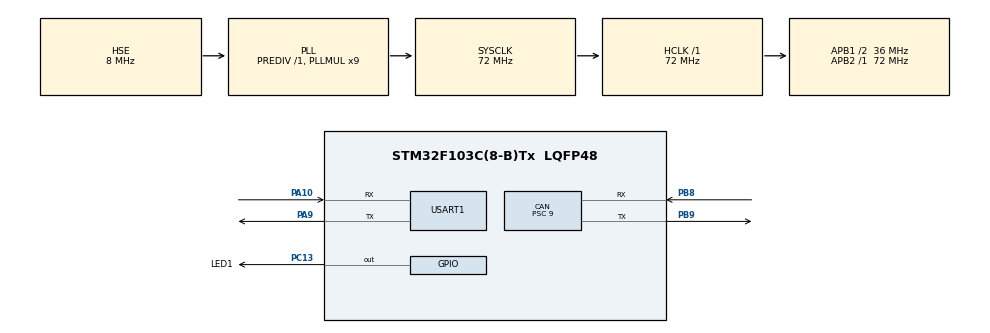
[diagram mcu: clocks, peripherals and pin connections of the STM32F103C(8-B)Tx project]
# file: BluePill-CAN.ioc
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CAN.BS1=CAN_BS1_13TQ
CAN.BS2=CAN_BS2_2TQ
CAN.CalculateTimeBit=4000
CAN.CalculateTimeQuantum=250.0
CAN.Prescaler=9
Mcu.Family=STM32F1
Mcu.Name=STM32F103C(8-B)Tx
Mcu.Package=LQFP48
Mcu.UserConstants=CAN1_BITRATE,250000
NVIC.PriorityGroup=NVIC_PRIORITYGROUP_4
PA10.Mode=Asynchronous
PA10.Signal=USART1_RX
PA9.Mode=Asynchronous
PA9.Signal=USART1_TX
PB8.Mode=Master
PB8.Signal=CAN_RX
PB9.Mode=Master
PB9.Signal=CAN_TX
PC13-TAMPER-RTC.GPIO_Label=LED1
PC13-TAMPER-RTC.Signal=GPIO_Output
PD0-OSC_IN.Mode=HSE-External-Oscillator
PD0-OSC_IN.Signal=RCC_OSC_IN
PD1-OSC_OUT.Mode=HSE-External-Oscillator
PD1-OSC_OUT.Signal=RCC_OSC_OUT
ProjectManager.HeapSize=0x200
ProjectManager.StackSize=0x400
ProjectManager.TargetToolchain=Makefile
RCC.AHBFreq_Value=72000000
RCC.APB1CLKDivider=RCC_HCLK_DIV2
RCC.APB1Freq_Value=36000000
RCC.APB1TimFreq_Value=72000000
RCC.APB2Freq_Value=72000000
RCC.APB2TimFreq_Value=72000000
RCC.HCLKFreq_Value=72000000
RCC.PLLMUL=RCC_PLL_MUL9
RCC.PLLSourceVirtual=RCC_PLLSOURCE_HSE
RCC.SYSCLKFreq_VALUE=72000000
RCC.SYSCLKSource=RCC_SYSCLKSOURCE_PLLCLK
RCC.USBFreq_Value=48000000
RCC.USBPrescaler=RCC_USBCLKSOURCE_PLL_DIV1_5
USART1.VirtualMode=VM_ASYNC
VP_SYS_VS_ND.Mode=No_Debug
board=custom

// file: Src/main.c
/* USER CODE BEGIN Header */
/**
  ******************************************************************************
  * @file           : main.c
  * @brief          : Main program body
  ******************************************************************************
  * @attention
  *
  * <h2><center>&copy; Copyright (c) 2020 STMicroelectronics.
  * All rights reserved.</center></h2>
  *
  * This software component is licensed by ST under BSD 3-Clause license,
  * the "License"; You may not use this file except in compliance with the
  * License. You may obtain a copy of the License at:
  *                        opensource.org/licenses/BSD-3-Clause
  *
  ******************************************************************************
  */
/* USER CODE END Header */

#include "main.h"

/* USER CODE BEGIN Includes */
#include <stdio.h>
#include <stdarg.h>
#include <string.h>
#include <stdint.h>
/* USER CODE END Includes */

/* USER CODE BEGIN PTD */
typedef struct {
  uint32_t StdId;
  uint32_t DLC;
  uint8_t data[8];
} CanFrame;
/* USER CODE END PTD */

/* USER CODE BEGIN PD */
#define MY_ID 1
/* USER CODE END PD */

CAN_HandleTypeDef hcan;

UART_HandleTypeDef huart1;

/* USER CODE BEGIN PV */
uint32_t TxMailbox = 0;
uint32_t RxFifo = CAN_RX_FIFO0;
/* USER CODE END PV */

void SystemClock_Config(void);
static void MX_GPIO_Init(void);
static void MX_CAN_Init(void);
static void MX_USART1_UART_Init(void);

/* USER CODE BEGIN 0 */
void vprint(const char *fmt, va_list argp)
{
    char string[200];
    if(0 < vsprintf(string,fmt,argp)) // build string
    {
        HAL_UART_Transmit(&huart1, (uint8_t*)string, strlen(string), 0xffffff); // send message via UART
        HAL_UART_Transmit(&huart1, (uint8_t*)"\n\r", strlen("\n\r"), 0xffffff); // End the message with a line feed + carriage return
    }
}

void my_printf(const char *fmt, ...) // custom printf() function
{
    va_list argp;
    va_start(argp, fmt);
    vprint(fmt, argp);
    va_end(argp);
}

// Send a message with a standard CAN ID
HAL_StatusTypeDef send_msg_CAN(CanFrame* txFrame)
{
  CAN_TxHeaderTypeDef TxHeader;

  TxHeader.IDE = CAN_ID_STD;
  TxHeader.RTR = CAN_RTR_DATA;
  TxHeader.TransmitGlobalTime = DISABLE;
  TxHeader.StdId = txFrame->StdId;
  TxHeader.DLC = txFrame->DLC;

  return HAL_CAN_AddTxMessage(&hcan, &TxHeader, &txFrame->data[0], &TxMailbox);
}

int recv_msg_CAN(CanFrame *rxFrame)
{
  int n = HAL_CAN_GetRxFifoFillLevel(&hcan, RxFifo);

  if (n == 0)
    return 0;

  CAN_RxHeaderTypeDef RxHeader;
  if (HAL_CAN_GetRxMessage(&hcan, RxFifo, &RxHeader, rxFrame->data) == HAL_OK) {
    rxFrame->StdId = RxHeader.StdId;
    rxFrame->DLC = RxHeader.DLC;
    return n;
  }

  return 0;
}
/* USER CODE END 0 */

int main(void)
{

  /* MCU Configuration--------------------------------------------------------*/

  /* Reset of all peripherals, Initializes the Flash interface and the Systick. */
  HAL_Init();

  /* Configure the system clock */
  SystemClock_Config();

  /* Initialize all configured peripherals */
  MX_GPIO_Init();
  MX_CAN_Init();
  MX_USART1_UART_Init();
  /* USER CODE BEGIN 2 */
  CanFrame txFrame;
  CanFrame rxFrame;
  /* USER CODE END 2 */

  /* Infinite loop */
  /* USER CODE BEGIN WHILE */
  uint8_t counter = MY_ID;
  while (1)
  {
    /* USER CODE END WHILE */

    /* USER CODE BEGIN 3 */

    my_printf("[ID %d] Loop!", MY_ID);

    // Setup CAN frame
    txFrame.DLC = 2;
    txFrame.StdId = 0x110 + MY_ID;
    txFrame.data[0] = MY_ID;
    txFrame.data[1] = counter++;

    if (send_msg_CAN(&txFrame) == HAL_OK) {
      my_printf("Message sent");
    }

    if (recv_msg_CAN(&rxFrame) > 0) {
      my_printf("[%d] Received msg ID 0x%x with %d bytes: [%d, %d]", MY_ID, rxFrame.StdId,
                rxFrame.DLC, rxFrame.data[0], rxFrame.data[1]);
      HAL_GPIO_TogglePin(LED1_GPIO_Port, LED1_Pin);
    }

    HAL_Delay(1000);
  }
  /* USER CODE END 3 */
}

void SystemClock_Config(void)
{
  RCC_OscInitTypeDef RCC_OscInitStruct = {0};
  RCC_ClkInitTypeDef RCC_ClkInitStruct = {0};

  /** Initializes the CPU, AHB and APB busses clocks
  */
  RCC_OscInitStruct.OscillatorType = RCC_OSCILLATORTYPE_HSE;
  RCC_OscInitStruct.HSEState = RCC_HSE_ON;
  RCC_OscInitStruct.HSEPredivValue = RCC_HSE_PREDIV_DIV1;
  RCC_OscInitStruct.HSIState = RCC_HSI_ON;
  RCC_OscInitStruct.PLL.PLLState = RCC_PLL_ON;
  RCC_OscInitStruct.PLL.PLLSource = RCC_PLLSOURCE_HSE;
  RCC_OscInitStruct.PLL.PLLMUL = RCC_PLL_MUL9;
  if (HAL_RCC_OscConfig(&RCC_OscInitStruct) != HAL_OK)
  {
    Error_Handler();
  }
  /** Initializes the CPU, AHB and APB busses clocks
  */
  RCC_ClkInitStruct.ClockType = RCC_CLOCKTYPE_HCLK|RCC_CLOCKTYPE_SYSCLK
                              |RCC_CLOCKTYPE_PCLK1|RCC_CLOCKTYPE_PCLK2;
  RCC_ClkInitStruct.SYSCLKSource = RCC_SYSCLKSOURCE_PLLCLK;
  RCC_ClkInitStruct.AHBCLKDivider = RCC_SYSCLK_DIV1;
  RCC_ClkInitStruct.APB1CLKDivider = RCC_HCLK_DIV2;
  RCC_ClkInitStruct.APB2CLKDivider = RCC_HCLK_DIV1;

  if (HAL_RCC_ClockConfig(&RCC_ClkInitStruct, FLASH_LATENCY_2) != HAL_OK)
  {
    Error_Handler();
  }
}

static void MX_CAN_Init(void)
{

  hcan.Instance = CAN1;
  hcan.Init.Prescaler = 9;
  hcan.Init.Mode = CAN_MODE_NORMAL;
  hcan.Init.SyncJumpWidth = CAN_SJW_1TQ;
  hcan.Init.TimeSeg1 = CAN_BS1_13TQ;
  hcan.Init.TimeSeg2 = CAN_BS2_2TQ;
  hcan.Init.TimeTriggeredMode = DISABLE;
  hcan.Init.AutoBusOff = DISABLE;
  hcan.Init.AutoWakeUp = DISABLE;
  hcan.Init.AutoRetransmission = DISABLE;
  hcan.Init.ReceiveFifoLocked = DISABLE;
  hcan.Init.TransmitFifoPriority = DISABLE;
  if (HAL_CAN_Init(&hcan) != HAL_OK)
  {
    Error_Handler();
  }
  /* USER CODE BEGIN CAN_Init 2 */

  // Configure the CAN filter
  CAN_FilterTypeDef hFilt;

  hFilt.FilterBank = 0;
  hFilt.FilterMode = CAN_FILTERMODE_IDMASK;
  hFilt.FilterScale = CAN_FILTERSCALE_32BIT;
  hFilt.FilterIdHigh = 0x0000;
  hFilt.FilterIdLow = 0x0000;
  hFilt.FilterMaskIdHigh = 0x0000;
  hFilt.FilterMaskIdLow = 0x0000;
  hFilt.FilterFIFOAssignment = CAN_RX_FIFO0;
  hFilt.FilterActivation = ENABLE;
  hFilt.SlaveStartFilterBank = 14;
  if (HAL_CAN_ConfigFilter(&hcan, &hFilt) != HAL_OK)
  {
    Error_Handler();
  }

  // Start the CAN driver
  if (HAL_CAN_Start(&hcan) != HAL_OK)
  {
    Error_Handler();
  }
  /* USER CODE END CAN_Init 2 */

}

static void MX_USART1_UART_Init(void)
{

  huart1.Instance = USART1;
  huart1.Init.BaudRate = 115200;
  huart1.Init.WordLength = UART_WORDLENGTH_8B;
  huart1.Init.StopBits = UART_STOPBITS_1;
  huart1.Init.Parity = UART_PARITY_NONE;
  huart1.Init.Mode = UART_MODE_TX_RX;
  huart1.Init.HwFlowCtl = UART_HWCONTROL_NONE;
  huart1.Init.OverSampling = UART_OVERSAMPLING_16;
  if (HAL_UART_Init(&huart1) != HAL_OK)
  {
    Error_Handler();
  }

}

static void MX_GPIO_Init(void)
{
  GPIO_InitTypeDef GPIO_InitStruct = {0};

  /* GPIO Ports Clock Enable */
  __HAL_RCC_GPIOC_CLK_ENABLE();
  __HAL_RCC_GPIOD_CLK_ENABLE();
  __HAL_RCC_GPIOA_CLK_ENABLE();
  __HAL_RCC_GPIOB_CLK_ENABLE();

  /*Configure GPIO pin Output Level */
  HAL_GPIO_WritePin(LED1_GPIO_Port, LED1_Pin, GPIO_PIN_RESET);

  /*Configure GPIO pin : LED1_Pin */
  GPIO_InitStruct.Pin = LED1_Pin;
  GPIO_InitStruct.Mode = GPIO_MODE_OUTPUT_PP;
  GPIO_InitStruct.Pull = GPIO_NOPULL;
  GPIO_InitStruct.Speed = GPIO_SPEED_FREQ_LOW;
  HAL_GPIO_Init(LED1_GPIO_Port, &GPIO_InitStruct);

}

void Error_Handler(void)
{
}

/************************ (C) COPYRIGHT STMicroelectronics *****END OF FILE****/
